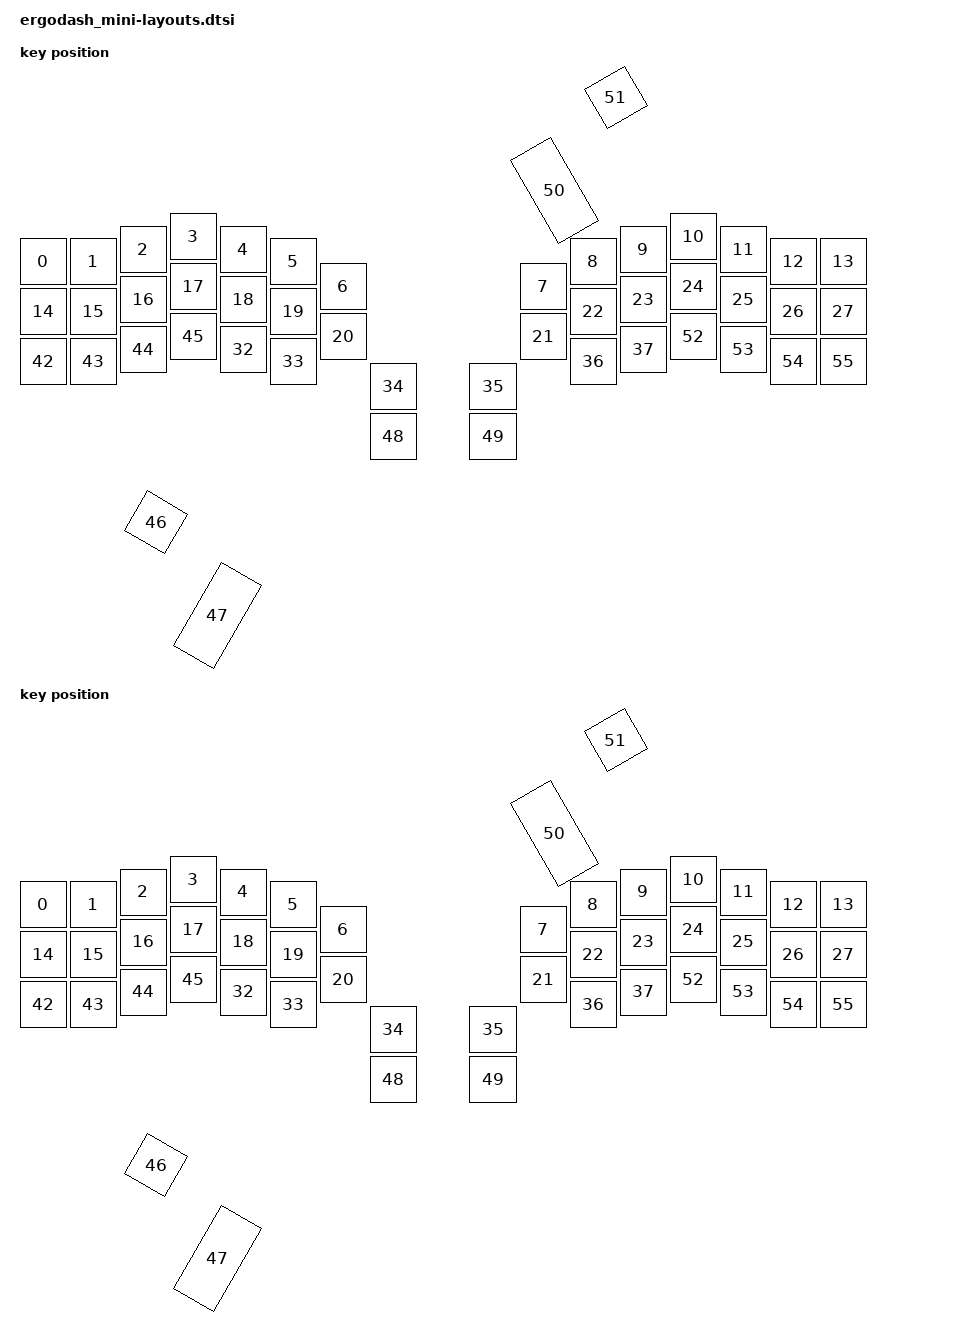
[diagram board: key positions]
#include <physical_layouts.dtsi>

/{
ergodash_mini_zero_physical_layout: ergodash_mini_zero_layout {
        compatible = "zmk,physical-layout";
        display-name = "zero";

        keys  //                     w   h    x    y     rot    rx    ry
            = <&key_physical_attrs 100 100    0    50       0     0     0>
            , <&key_physical_attrs 100 100  100    50       0     0     0>
            , <&key_physical_attrs 100 100  200    25       0     0     0>
            , <&key_physical_attrs 100 100  300    0        0     0     0>
            , <&key_physical_attrs 100 100  400    25       0     0     0>
            , <&key_physical_attrs 100 100  500    50       0     0     0>
            , <&key_physical_attrs 100 100  600    100      0     0     0>
            , <&key_physical_attrs 100 100 1000    100      0     0     0>
            , <&key_physical_attrs 100 100 1100    50       0     0     0>
            , <&key_physical_attrs 100 100 1200    25       0     0     0>
            , <&key_physical_attrs 100 100 1300    0        0     0     0>
            , <&key_physical_attrs 100 100 1400    25       0     0     0>
            , <&key_physical_attrs 100 100 1500    50       0     0     0>
            , <&key_physical_attrs 100 100 1600    50       0     0     0>
           
            , <&key_physical_attrs 100 100  0      150      0     0     0>
            , <&key_physical_attrs 100 100  100    150      0     0     0>
            , <&key_physical_attrs 100 100  200    125      0     0     0>
            , <&key_physical_attrs 100 100  300    100      0     0     0>
            , <&key_physical_attrs 100 100  400    125      0     0     0>
            , <&key_physical_attrs 100 100  500    150      0     0     0>
            , <&key_physical_attrs 100 100  600    200      0     0     0>
            , <&key_physical_attrs 100 100 1000    200      0     0     0>
            , <&key_physical_attrs 100 100 1100    150      0     0     0>
            , <&key_physical_attrs 100 100 1200    125      0     0     0>
            , <&key_physical_attrs 100 100 1300    100      0     0     0>
            , <&key_physical_attrs 100 100 1400    125      0     0     0>
            , <&key_physical_attrs 100 100 1500    150      0     0     0>
            , <&key_physical_attrs 100 100 1600    150      0     0     0>
            
            , <&key_physical_attrs 100 100  0      250      0     0     0>
            , <&key_physical_attrs 100 100  100    250      0     0     0>
            , <&key_physical_attrs 100 100  200    225      0     0     0>
            , <&key_physical_attrs 100 100  300    200      0     0     0>
            , <&key_physical_attrs 100 100  400    225      0     0     0>
            , <&key_physical_attrs 100 100  500    250      0     0     0>
            , <&key_physical_attrs 100 100  700    300      0     0     0>
            , <&key_physical_attrs 100 100  900    300      0     0     0>
            , <&key_physical_attrs 100 100 1100    250      0     0     0>
            , <&key_physical_attrs 100 100 1200    225      0     0     0>
            , <&key_physical_attrs 100 100 1300    200      0     0     0>
            , <&key_physical_attrs 100 100 1400    225      0     0     0>
            , <&key_physical_attrs 100 100 1500    250      0     0     0>
            , <&key_physical_attrs 100 100 1600    250      0     0     0>

            , <&key_physical_attrs 100 100  0      250      0     0     0>
            , <&key_physical_attrs 100 100  100    250      0     0     0>
            , <&key_physical_attrs 100 100  200    225      0     0     0>
            , <&key_physical_attrs 100 100  300    200      0     0     0>
            , <&key_physical_attrs 100 100  500    350      3000     0     0>
            , <&key_physical_attrs 100 200  700    400      3000     0     0>
            , <&key_physical_attrs 100 100  700    400      0     0     0>
            , <&key_physical_attrs 100 100  900    400      0     0     0>
            , <&key_physical_attrs 100 200  900    400     (-3000)     0     0>
            , <&key_physical_attrs 100 100 1100    350     (-3000)     0     0>
            , <&key_physical_attrs 100 100 1300    200      0     0     0>
            , <&key_physical_attrs 100 100 1400    225      0     0     0>
            , <&key_physical_attrs 100 100 1500    250      0     0     0>
            , <&key_physical_attrs 100 100 1600    250      0     0     0>
            ;
    };
    ergodash_mini_one_physical_layout: ergodash_mini_one_layout {
        compatible = "zmk,physical-layout";
        display-name = "one";

        keys  //                     w   h    x    y     rot    rx    ry
            = <&key_physical_attrs 100 100    0    50       0     0     0>
            , <&key_physical_attrs 100 100  100    50       0     0     0>
            , <&key_physical_attrs 100 100  200    25       0     0     0>
            , <&key_physical_attrs 100 100  300    0        0     0     0>
            , <&key_physical_attrs 100 100  400    25       0     0     0>
            , <&key_physical_attrs 100 100  500    50       0     0     0>
            , <&key_physical_attrs 100 100  600    100      0     0     0>
            , <&key_physical_attrs 100 100 1000    100      0     0     0>
            , <&key_physical_attrs 100 100 1100    50       0     0     0>
            , <&key_physical_attrs 100 100 1200    25       0     0     0>
            , <&key_physical_attrs 100 100 1300    0        0     0     0>
            , <&key_physical_attrs 100 100 1400    25       0     0     0>
            , <&key_physical_attrs 100 100 1500    50       0     0     0>
            , <&key_physical_attrs 100 100 1600    50       0     0     0>
           
            , <&key_physical_attrs 100 100  0      150      0     0     0>
            , <&key_physical_attrs 100 100  100    150      0     0     0>
            , <&key_physical_attrs 100 100  200    125      0     0     0>
            , <&key_physical_attrs 100 100  300    100      0     0     0>
            , <&key_physical_attrs 100 100  400    125      0     0     0>
            , <&key_physical_attrs 100 100  500    150      0     0     0>
            , <&key_physical_attrs 100 100  600    200      0     0     0>
            , <&key_physical_attrs 100 100 1000    200      0     0     0>
            , <&key_physical_attrs 100 100 1100    150      0     0     0>
            , <&key_physical_attrs 100 100 1200    125      0     0     0>
            , <&key_physical_attrs 100 100 1300    100      0     0     0>
            , <&key_physical_attrs 100 100 1400    125      0     0     0>
            , <&key_physical_attrs 100 100 1500    150      0     0     0>
            , <&key_physical_attrs 100 100 1600    150      0     0     0>
            
            , <&key_physical_attrs 100 100  0      250      0     0     0>
            , <&key_physical_attrs 100 100  100    250      0     0     0>
            , <&key_physical_attrs 100 100  200    225      0     0     0>
            , <&key_physical_attrs 100 100  300    200      0     0     0>
            , <&key_physical_attrs 100 100  400    225      0     0     0>
            , <&key_physical_attrs 100 100  500    250      0     0     0>
            , <&key_physical_attrs 100 100  700    300      0     0     0>
            , <&key_physical_attrs 100 100  900    300      0     0     0>
            , <&key_physical_attrs 100 100 1100    250      0     0     0>
            , <&key_physical_attrs 100 100 1200    225      0     0     0>
            , <&key_physical_attrs 100 100 1300    200      0     0     0>
            , <&key_physical_attrs 100 100 1400    225      0     0     0>
            , <&key_physical_attrs 100 100 1500    250      0     0     0>
            , <&key_physical_attrs 100 100 1600    250      0     0     0>

            , <&key_physical_attrs 100 100  0      250      0     0     0>
            , <&key_physical_attrs 100 100  100    250      0     0     0>
            , <&key_physical_attrs 100 100  200    225      0     0     0>
            , <&key_physical_attrs 100 100  300    200      0     0     0>
            , <&key_physical_attrs 100 100  500    350      3000     0     0>
            , <&key_physical_attrs 100 200  700    400      3000     0     0>
            , <&key_physical_attrs 100 100  700    400      0     0     0>
            , <&key_physical_attrs 100 100  900    400      0     0     0>
            , <&key_physical_attrs 100 200  900    400     (-3000)     0     0>
            , <&key_physical_attrs 100 100 1100    350     (-3000)     0     0>
            , <&key_physical_attrs 100 100 1300    200      0     0     0>
            , <&key_physical_attrs 100 100 1400    225      0     0     0>
            , <&key_physical_attrs 100 100 1500    250      0     0     0>
            , <&key_physical_attrs 100 100 1600    250      0     0     0>
            ;
    };
    ergodash_mini_position_map {
        compatible = "zmk,physical-layout-position-map";

        complete;

        zero {
            physical-layout = <&erogodash_mini_zero_layout>;
            positions
                = < 0  1  2  3  4  5  6  7  8  9 10 11 12 13>
                , <14 15 16 17 18 19 20 21 22 23 24 25 26 27>
                , <28 29 30 31 32 33 34 35 36 37 38 39 40 41>
                , <42 43 44 45 46 47 48 49 50 51 52 53 54 55>;
        };

        one {
            physical-layout = <&ergodash_mini_one_layout>;
            positions
                = < 0  1  2  3  4  5  6  7  8  9 10 11 12 13>
                , <14 15 16 17 18 19 20 21 22 23 24 25 26 27>
                , <28 29 30 31 32 33 34 35 36 37 38 39 40 41>
                , <42 43 44 45 46 47 48 49 50 51 52 53 54 55>;
        };
    };
};
